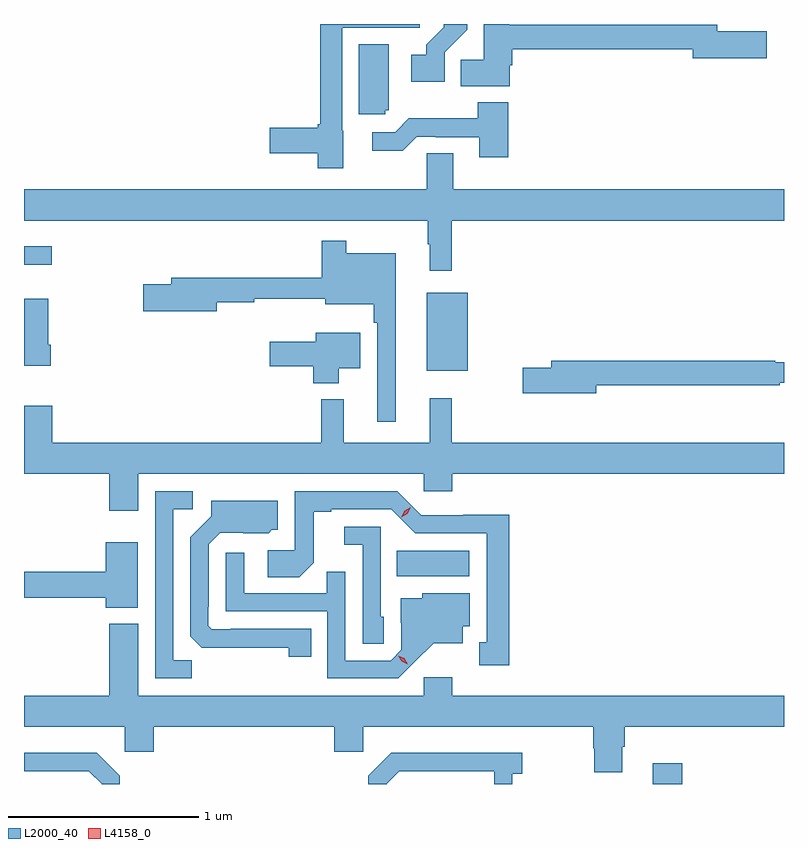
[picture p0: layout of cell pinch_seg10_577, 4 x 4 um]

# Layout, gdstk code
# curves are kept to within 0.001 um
import gdstk
lib = gdstk.Library(unit=1e-6, precision=1e-09)
def R(c, l, rs):  # rectangles x0, y0, x1, y1
    for r in rs: c.add(gdstk.rectangle(r[:2], r[2:], *l))
def P(c, l, *ps):  # polygons
    for p in ps: c.add(gdstk.Polygon(p, *l))
L2000_40 = (2000, 40)
L4158_0 = (4158, 0)

pinch_seg10_577 = lib.new_cell('pinch_seg10_577')
R(pinch_seg10_577, L2000_40, [(392.015,1270.711,392.171,1270.819), (390.67,1271.804,391.051,1271.938), (390.827,1272.887,391.042,1273.297), (388.707,1273.443,388.852,1273.54)])
P(pinch_seg10_577, L2000_40, [(390.388,1274.148),(390.381,1274.148),(390.381,1274.691),(390.79,1274.691),(390.79,1274.711),(390.265,1274.711),(390.265,1274.183),(390.252,1274.183),(390.252,1274.165),(390,1274.165),(390,1274.03),(390.252,1274.03),(390.252,1273.952),(390.388,1273.952)],
  [(390.921,1274.563),(391.04,1274.682),(391.04,1274.711),(390.915,1274.711),(390.915,1274.693),(390.824,1274.603),(390.824,1274.548),(390.744,1274.548),(390.744,1274.408),(390.921,1274.408)],
  [(391.264,1274.495),(391.277,1274.495),(391.277,1274.578),(392.228,1274.578),(392.228,1274.531),(392.617,1274.531),(392.617,1274.673),(392.356,1274.673),(392.356,1274.707),(391.26,1274.707),(391.26,1274.71),(391.127,1274.71),(391.127,1274.522),(391.006,1274.522),(391.006,1274.384),(391.264,1274.384)],
  [(390.609,1274.256),(390.628,1274.256),(390.628,1274.605),(390.47,1274.605),(390.47,1274.235),(390.609,1274.235)],
  [(391.256,1274.299),(391.096,1274.299),(391.096,1274.215),(390.733,1274.215),(390.66,1274.142),(390.54,1274.142),(390.54,1274.045),(390.701,1274.045),(390.774,1274.118),(390.874,1274.118),(390.874,1274.115),(391.103,1274.115),(391.103,1274.01),(391.256,1274.01)],
  [(390.959,1273.676),(392.707,1273.676),(392.707,1273.84),(390.967,1273.84),(390.967,1274.03),(390.828,1274.03),(390.828,1273.84),(388.707,1273.84),(388.707,1273.676),(390.831,1273.676),(390.831,1273.553),(390.842,1273.553),(390.842,1273.413),(390.959,1273.413)],
  [(390.664,1273.504),(390.403,1273.504),(390.403,1273.57),(390.274,1273.57),(390.274,1273.375),(389.483,1273.375),(389.483,1273.341),(389.334,1273.341),(389.334,1273.199),(389.722,1273.199),(389.722,1273.246),(389.918,1273.246),(389.918,1273.264),(390.293,1273.264),(390.293,1273.235),(390.547,1273.235),(390.547,1273.139),(390.567,1273.139),(390.567,1272.618),(390.664,1272.618)],
  [(388.847,1273.024),(388.834,1273.024),(388.834,1273.264),(388.707,1273.264),(388.707,1272.912),(388.847,1272.912)],
  [(390.364,1272.899),(390.478,1272.899),(390.478,1273.087),(390.242,1273.087),(390.242,1273.039),(390,1273.039),(390,1272.91),(390.23,1272.91),(390.23,1272.821),(390.364,1272.821)],
  [(391.72,1272.81),(392.684,1272.81),(392.684,1272.822),(392.707,1272.822),(392.707,1272.931),(392.662,1272.931),(392.662,1272.938),(391.481,1272.938),(391.481,1272.902),(391.332,1272.902),(391.332,1272.767),(391.72,1272.767)],
  [(388.856,1272.703),(388.707,1272.703),(388.707,1272.344),(389.156,1272.344),(389.156,1272.15),(389.308,1272.15),(389.308,1272.344),(390.81,1272.344),(390.81,1272.251),(390.962,1272.251),(390.962,1272.344),(392.707,1272.344),(392.707,1272.508),(390.959,1272.508),(390.959,1272.742),(390.842,1272.742),(390.842,1272.508),(390.389,1272.508),(390.389,1272.736),(390.271,1272.736),(390.271,1272.508),(388.856,1272.508)],
  [(389.589,1271.363),(389.493,1271.363),(389.493,1272.156),(389.596,1272.156),(389.596,1272.252),(389.397,1272.252),(389.397,1271.268),(389.589,1271.268)],
  [(391.261,1272.128),(391.02,1272.128),(391.02,1272.126),(390.798,1272.126),(390.672,1272.252),(390.132,1272.252),(390.132,1271.94),(389.991,1271.94),(389.991,1271.8),(390.155,1271.8),(390.231,1271.876),(390.231,1272.144),(390.325,1272.144),(390.325,1272.156),(390.639,1272.156),(390.765,1272.03),(391.142,1272.03),(391.142,1271.457),(391.103,1271.457),(391.103,1271.337),(391.261,1271.337)],
  [(390.218,1271.529),(389.794,1271.529),(389.794,1271.526),(389.694,1271.526),(389.676,1271.544),(389.676,1271.644),(389.679,1271.644),(389.679,1271.973),(389.739,1272.033),(389.996,1272.032),(390.012,1272.048),(390.043,1272.048),(390.043,1272.202),(389.693,1272.202),(389.693,1272.12),(389.583,1272.01),(389.583,1271.488),(389.642,1271.429),(390.1,1271.428),(390.1,1271.382),(390.218,1271.382)],
  [(390.6,1271.592),(390.585,1271.592),(390.585,1272.066),(390.393,1272.066),(390.393,1271.969),(390.489,1271.969),(390.489,1271.449),(390.6,1271.449)],
  [(389.305,1271.983),(389.138,1271.983),(389.138,1271.828),(388.707,1271.828),(388.707,1271.692),(389.138,1271.692),(389.138,1271.639),(389.305,1271.639)],
  [(390.76,1271.351),(390.863,1271.453),(391.015,1271.453),(391.015,1271.54),(391.054,1271.54),(391.054,1271.716),(390.804,1271.716),(390.804,1271.689),(390.689,1271.689),(390.689,1271.56),(390.693,1271.56),(390.693,1271.418),(390.636,1271.361),(390.399,1271.361),(390.399,1271.828),(390.301,1271.828),(390.301,1271.715),(389.865,1271.715),(389.865,1271.929),(389.769,1271.929),(389.769,1271.619),(390.303,1271.619),(390.303,1271.268),(390.676,1271.268)],
  [(391.855,1270.906),(391.868,1270.906),(391.868,1271.012),(392.707,1271.012),(392.707,1271.176),(390.962,1271.176),(390.962,1271.272),(390.81,1271.272),(390.81,1271.176),(389.308,1271.176),(389.308,1271.554),(389.156,1271.554),(389.156,1271.176),(388.707,1271.176),(388.707,1271.012),(389.238,1271.012),(389.238,1270.881),(389.39,1270.881),(389.39,1271.012),(390.341,1271.012),(390.341,1270.881),(390.492,1270.881),(390.492,1271.012),(391.703,1271.012),(391.703,1270.899),(391.708,1270.899),(391.708,1270.774),(391.855,1270.774)],
  [(389.211,1270.755),(389.09,1270.876),(388.707,1270.876),(388.707,1270.779),(389.049,1270.779),(389.115,1270.713),(389.115,1270.711),(389.211,1270.711)],
  [(390.615,1270.713),(390.681,1270.779),(391.181,1270.779),(391.181,1270.711),(391.278,1270.711),(391.278,1270.766),(391.33,1270.766),(391.33,1270.876),(390.64,1270.876),(390.519,1270.755),(390.519,1270.711),(390.615,1270.711)])
P(pinch_seg10_577, L4158_0, [(390.692,1272.116),(390.692,1272.116),(390.71,1272.148),(390.742,1272.167),(390.742,1272.167),(390.742,1272.167),(390.725,1272.134),(390.693,1272.116)],
  [(390.726,1271.341),(390.695,1271.357),(390.678,1271.387),(390.678,1271.387),(390.678,1271.387),(390.709,1271.372),(390.726,1271.342),(390.726,1271.341)])

lib.write_gds('pinch_seg10_577.gds')
